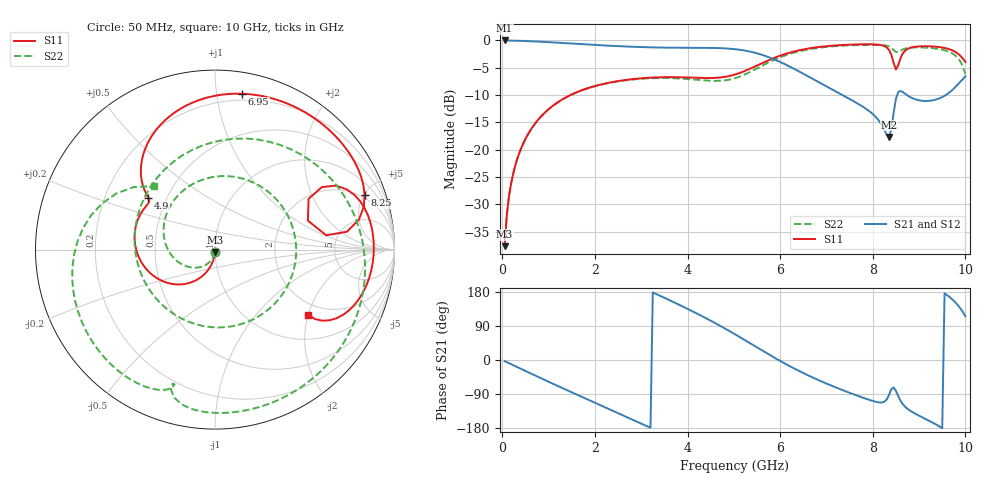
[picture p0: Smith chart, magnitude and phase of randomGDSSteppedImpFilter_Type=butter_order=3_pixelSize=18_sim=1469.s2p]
! freq	dB(S11)	phase(S11)	dB(S12)	phase(S12)
!  dB(S21)	phase(S21)	dB(S22)	phase(S22)
!S-par simulation data
#  GHz  S  DB  R 50
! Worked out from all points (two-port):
!   200 points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, 50 MHz to 10 GHz, reference 50 ohm
!   highest |S21| = -0.01 dB at 50 MHz (marker M1); lowest = -17.7 dB at 8.35 GHz (marker M2)
!   |S21| within 3 dB of the highest: start of sweep to 5.733 GHz
!   lowest |S11| = -37.7 dB at 50 MHz (marker M3), VSWR 1.03, Z = 49.9 - j1.31 ohm
!   |S11| at or under -10 dB: start of sweep to 1.471 GHz
!   |S22| runs from -37.7 to -0.8 dB; largest |S21 - S12| = 0
!   S11 on the Smith chart (normalised r, x): 50 MHz: 1.00, -0.03; 4.9 GHz: 0.39, +0.29; 6.95 GHz: 0.15, +1.18; 8.25 GHz: 1.79, +5.08; 10 GHz: 1.65, -2.01
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0.05  -37.67 -91.9  -0.01 -3.0  -0.01 -3.0  -37.66 -93.9
0.2  -25.75 -97.9  -0.03 -11.7  -0.03 -11.7  -25.78 -105.9
0.5  -18.03 -109.5  -0.11 -29.0  -0.11 -29.0  -18.06 -129.5
1.15  -11.60 -132.9  -0.39 -65.8  -0.39 -65.8  -11.63 179.9
1.75  -9.01 -152.2  -0.70 -99.1  -0.70 -99.1  -9.05 132.8
2.55  -7.38 -174.8  -1.07 -142.9  -1.07 -142.9  -7.43 68.1
3.4  -6.75 164.1  -1.30 169.9  -1.30 169.9  -6.88 -4.5
4.25  -6.86 147.7  -1.35 119.7  -1.35 119.7  -7.25 -87.6
4.9  -6.52 142.1  -1.50 76.7  -1.50 76.7  -7.18 -169.2
5.05  -6.18 141.1  -1.62 66.1  -1.62 66.1  -6.85 170.0
5.8  -3.45 126.0  -3.22 11.5  -3.22 11.5  -3.83 74.0
6.25  -2.13 109.2  -4.98 -19.0  -4.98 -19.0  -2.36 29.6
6.7  -1.36 90.6  -7.02 -46.0  -7.02 -46.0  -1.51 -5.9
6.95  -1.10 80.1  -8.18 -59.6  -8.18 -59.6  -1.23 -22.7
7.6  -0.74 52.8  -11.19 -91.2  -11.19 -91.2  -0.86 -60.4
8.25  -1.04 19.9  -16.39 -110.1  -16.39 -110.1  -0.88 -95.6
8.35  -1.74 11.7  -17.65 -92.4  -17.65 -92.4  -1.09 -102.0
8.55  -4.53 28.5  -9.44 -95.4  -9.44 -95.4  -2.12 -106.6
8.9  -1.18 12.7  -10.73 -140.6  -10.73 -140.6  -1.28 -123.3
9.55  -1.38 -17.6  -10.13 176.0  -10.13 176.0  -1.81 -168.4
9.8  -2.18 -29.5  -8.39 149.8  -8.39 149.8  -2.89 164.7
10  -3.95 -34.9  -6.57 115.5  -6.57 115.5  -6.16 134.1
